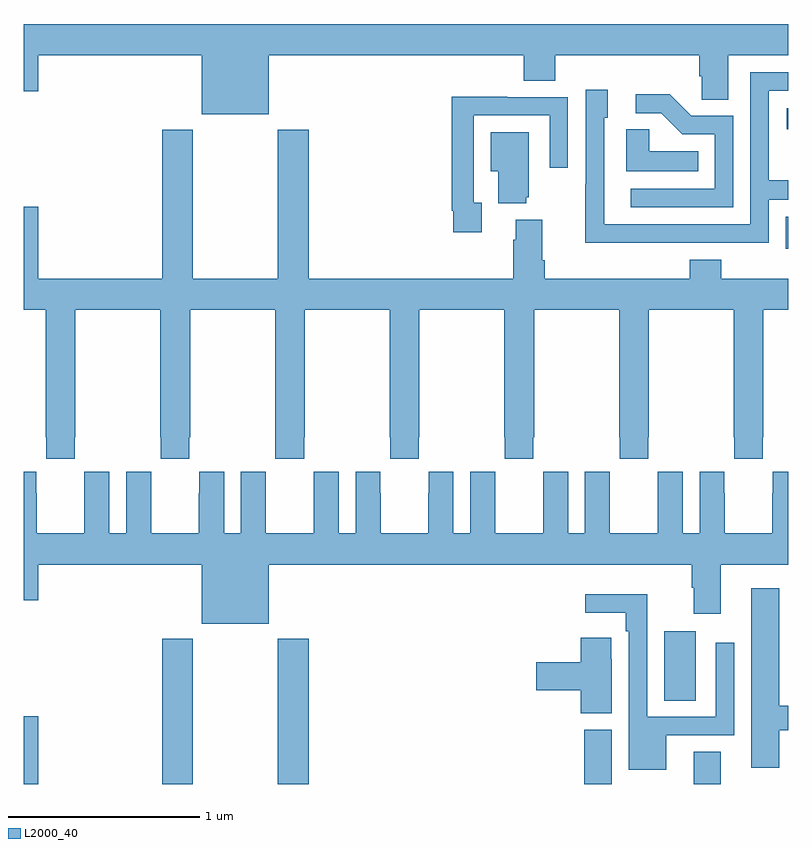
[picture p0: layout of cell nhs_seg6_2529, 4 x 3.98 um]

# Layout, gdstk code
import gdstk
lib = gdstk.Library(unit=1e-6, precision=1e-09)
def R(c, l, rs):  # rectangles x0, y0, x1, y1
    for r in rs: c.add(gdstk.rectangle(r[:2], r[2:], *l))
def P(c, l, *ps):  # polygons
    for p in ps: c.add(gdstk.Polygon(p, *l))
L2000_40 = (2000, 40)

nhs_seg6_2529 = lib.new_cell('nhs_seg6_2529')
R(nhs_seg6_2529, L2000_40, [(261,967.5,261.076,967.855), (261.725,967.5,261.885,968.26), (262.33,967.5,262.49,968.26), (263.933,967.5,264.076,967.785), (264.506,967.5,264.646,967.67), (264.35,967.936,264.517,968.299), (264.987,970.299,265,970.467), (264.993,970.925,265,971.035)])
P(nhs_seg6_2529, L2000_40, [(262.282,971.312),(263.615,971.312),(263.615,971.179),(263.78,971.179),(263.78,971.312),(264.533,971.312),(264.533,971.203),(264.546,971.203),(264.546,971.08),(264.685,971.08),(264.685,971.312),(265,971.312),(265,971.476),(261,971.476),(261,971.124),(261.076,971.124),(261.076,971.312),(261.932,971.312),(261.932,971.003),(262.282,971.003)],
  [(264.401,970.332),(264.897,970.332),(264.897,970.557),(265,970.557),(265,970.658),(264.897,970.658),(264.897,971.127),(265,971.127),(265,971.223),(264.801,971.223),(264.801,970.428),(264.036,970.428),(264.036,970.986),(264.055,970.986),(264.055,971.131),(263.94,971.131),(263.94,970.637),(263.938,970.637),(263.938,970.331),(264.401,970.331)],
  [(264.711,970.995),(264.492,970.995),(264.379,971.108),(264.201,971.108),(264.201,971.01),(264.335,971.01),(264.446,970.899),(264.615,970.899),(264.615,970.614),(264.177,970.614),(264.177,970.518),(264.711,970.518)],
  [(263.395,970.542),(263.355,970.542),(263.355,970.998),(263.751,970.998),(263.751,970.725),(263.847,970.725),(263.847,971.094),(263.531,971.094),(263.531,971.096),(263.239,971.096),(263.239,970.498),(263.247,970.498),(263.247,970.386),(263.395,970.386)],
  [(264.53,970.81),(264.273,970.81),(264.273,970.925),(264.152,970.925),(264.152,970.706),(264.53,970.706)],
  [(261.076,970.519),(261,970.519),(261,969.98),(261.115,969.98),(261.115,969.313),(261.117,969.313),(261.117,969.201),(261.267,969.201),(261.267,969.313),(261.27,969.313),(261.27,969.98),(261.715,969.98),(261.715,969.313),(261.717,969.313),(261.717,969.201),(261.867,969.201),(261.867,969.313),(261.87,969.313),(261.87,969.98),(262.315,969.98),(262.315,969.313),(262.317,969.313),(262.317,969.201),(262.467,969.201),(262.467,969.313),(262.47,969.313),(262.47,969.98),(262.915,969.98),(262.915,969.313),(262.917,969.313),(262.917,969.201),(263.067,969.201),(263.067,969.313),(263.07,969.313),(263.07,969.98),(263.515,969.98),(263.515,969.313),(263.517,969.313),(263.517,969.201),(263.667,969.201),(263.667,969.313),(263.67,969.313),(263.67,969.98),(264.115,969.98),(264.115,969.313),(264.117,969.313),(264.117,969.201),(264.267,969.201),(264.267,969.313),(264.27,969.313),(264.27,969.98),(264.715,969.98),(264.715,969.313),(264.717,969.313),(264.717,969.201),(264.867,969.201),(264.867,969.313),(264.87,969.313),(264.87,969.98),(265,969.98),(265,970.144),(264.65,970.144),(264.65,970.243),(264.485,970.243),(264.485,970.144),(263.726,970.144),(263.726,970.24),(263.713,970.24),(263.713,970.453),(263.573,970.453),(263.573,970.346),(263.561,970.346),(263.561,970.144),(262.49,970.144),(262.49,970.924),(262.33,970.924),(262.33,970.144),(261.885,970.144),(261.885,970.924),(261.725,970.924),(261.725,970.144),(261.076,970.144)],
  [(263.63,970.569),(263.641,970.569),(263.641,970.909),(263.444,970.909),(263.444,970.706),(263.483,970.706),(263.483,970.538),(263.63,970.538)],
  [(264.494,968.528),(264.506,968.528),(264.506,968.391),(264.646,968.391),(264.646,968.648),(265,968.648),(265,969.133),(264.918,969.133),(264.918,969.02),(264.917,969.02),(264.917,968.812),(264.667,968.812),(264.667,969.02),(264.666,969.02),(264.666,969.133),(264.536,969.133),(264.536,968.812),(264.448,968.812),(264.448,969.133),(264.318,969.133),(264.318,969.02),(264.317,969.02),(264.317,968.812),(264.067,968.812),(264.067,969.02),(264.066,969.02),(264.066,969.133),(263.936,969.133),(263.936,968.812),(263.848,968.812),(263.848,969.133),(263.718,969.133),(263.718,969.02),(263.717,969.02),(263.717,968.812),(263.467,968.812),(263.467,969.02),(263.466,969.02),(263.466,969.133),(263.336,969.133),(263.336,968.812),(263.248,968.812),(263.248,969.133),(263.118,969.133),(263.118,969.02),(263.117,969.02),(263.117,968.812),(262.867,968.812),(262.867,969.02),(262.866,969.02),(262.866,969.133),(262.736,969.133),(262.736,968.812),(262.648,968.812),(262.648,969.133),(262.518,969.133),(262.518,969.02),(262.517,969.02),(262.517,968.812),(262.267,968.812),(262.267,969.02),(262.266,969.02),(262.266,969.133),(262.136,969.133),(262.136,968.812),(262.048,968.812),(262.048,969.133),(261.918,969.133),(261.918,969.02),(261.917,969.02),(261.917,968.812),(261.667,968.812),(261.667,969.02),(261.666,969.02),(261.666,969.133),(261.536,969.133),(261.536,968.812),(261.448,968.812),(261.448,969.133),(261.318,969.133),(261.318,969.02),(261.317,969.02),(261.317,968.812),(261.067,968.812),(261.067,969.02),(261.066,969.02),(261.066,969.133),(261,969.133),(261,968.46),(261.076,968.46),(261.076,968.648),(261.932,968.648),(261.932,968.339),(262.282,968.339),(262.282,968.648),(264.494,968.648)],
  [(264.953,967.782),(265,967.782),(265,967.91),(264.953,967.91),(264.953,968.524),(264.806,968.524),(264.806,967.584),(264.953,967.584)],
  [(264.361,967.755),(264.717,967.755),(264.717,968.239),(264.621,968.239),(264.621,967.851),(264.261,967.851),(264.261,968.494),(263.937,968.494),(263.937,968.396),(264.149,968.396),(264.149,968.3),(264.165,968.3),(264.165,967.574),(264.361,967.574)],
  [(264.076,968.153),(264.075,968.153),(264.075,968.266),(263.915,968.266),(263.915,968.138),(263.682,968.138),(263.682,967.991),(263.915,967.991),(263.915,967.87),(264.076,967.87)])

lib.write_gds('nhs_seg6_2529.gds')
